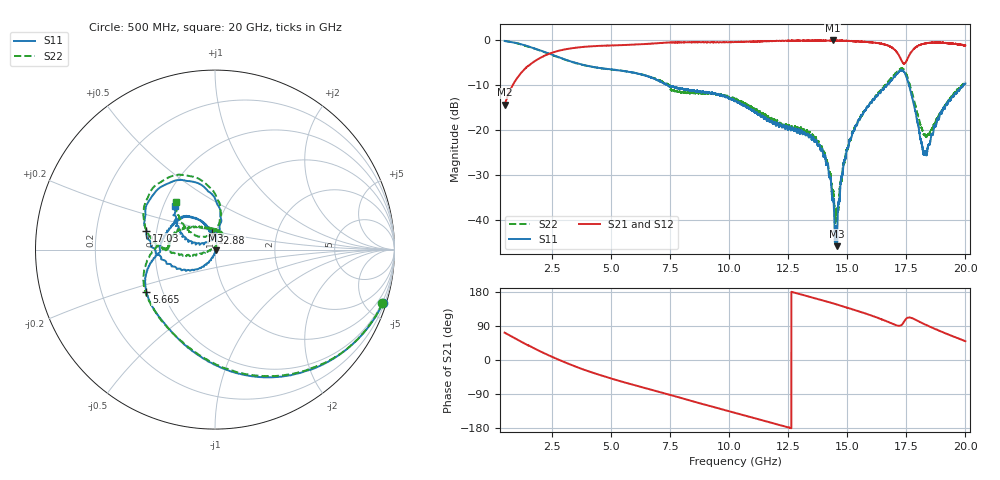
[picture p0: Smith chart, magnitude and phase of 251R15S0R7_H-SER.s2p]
!{251R15S0R7}
!Johanson Technology Inc.
!www.johansontechnology.com
!Test Board Conditions:
!Substrate Type  RO4350B
!Substrate Thickness  20 mil
!Substrate Dk  3.66
!TL Type: GCPW
!TL Trace Width  34 mil
!TL Gap  10 mil
!Electrode orientation  Horizontal
!DUT TOPOLOGY	SERIES
!Mounting Pad LxW  26x52 mil
! Created Thu Mar 12 16:29:16 2020
# mhz S ma R 50
! 2 Port Network Data from SP1.SP block
! freq  magS11  angS11  magS21  angS21  magS12  angS12  magS22  angS22
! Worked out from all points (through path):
!   19501 points, 500 MHz to 20 GHz, reference 50 ohm
!   highest |S21| = -0.06 dB at 14.39 GHz (marker M1); lowest = -14.3 dB at 500 MHz (marker M2)
!   lowest |S11| = -45.8 dB at 14.56 GHz (marker M3), VSWR 1.01, Z = 50.3 - j0.398 ohm
!   |S11| at or under -10 dB: 7.399368 GHz to 7.402959 GHz (3.591 MHz wide, 0.0485 % of centre); 7.403 GHz to 16.68 GHz (9.28 GHz wide, 77.1 % of centre); 17.61 GHz to 19.91 GHz (2.297 GHz wide, 12.2 % of centre)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
!   |S22| runs from -40.7 to -0.2 dB; largest |S21 - S12| = 0.017
!   S11 on the Smith chart (normalised r, x): 500 MHz: 0.40, -6.38; 5.665 GHz: 0.41, -0.24; 12.88 GHz: 0.96, +0.18; 17.03 GHz: 0.44, +0.11; 20 GHz: 0.58, +0.31
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500  0.9813 -17.7  0.1918 72.2  0.1922 72.4  0.9798 -17.8
1814  0.8021 -61.7  0.5928 28.9  0.5941 28.9  0.7981 -61.3
2753  0.6506 -88.4  0.7576 1.8  0.7574 1.7  0.6483 -87.8
3750  0.5374 -112.4  0.838 -23.2  0.8375 -23.1  0.5349 -112.6
5665  0.4492 -148.5  0.8857 -60.7  0.8854 -60.7  0.4487 -150.8
7000  0.3578 -169.8  0.926 -83.4  0.9276 -83.4  0.3635 -175.4
8424  0.2763 152.1  0.9466 -108.3  0.9495 -108.3  0.2584 176.6
10250  0.2103 123.0  0.9559 -139.5  0.9556 -139.6  0.2204 148.7
12875  0.09438 98.6  0.9889 175.9  0.9888 175.8  0.1012 73.4
13500  0.07817 87.3  0.9873 165.2  0.9871 165.3  0.08598 59.5
14108  0.04212 74.0  0.9886 154.8  0.9892 154.6  0.04568 54.2
14386  0.01719 48.1  0.9929 149.7  0.9901 149.6  0.0209 60.7
14565  0.005119 -50.6  0.9894 146.5  0.9868 146.3  0.01347 143.1
14806  0.03357 -103.5  0.9862 141.8  0.9832 141.8  0.03761 -170.8
15174  0.08183 -118.2  0.9799 134.7  0.9781 134.4  0.08636 -164.8
16750  0.33 -177.5  0.868 100.2  0.857 99.6  0.3486 172.4
17027  0.3958 164.7  0.7738 92.6  0.765 92.6  0.4219 158.9
17495  0.3966 107.7  0.58 109.0  0.5801 109.0  0.4205 106.0
17769  0.2184 82.3  0.7732 109.9  0.7726 109.6  0.2466 83.9
18293  0.05879 121.7  0.9219 93.7  0.921 93.3  0.0885 108.3
19002  0.1541 160.8  0.9354 74.5  0.9309 74.5  0.1656 144.4
20000  0.329 132.1  0.8712 49.5  0.8694 49.5  0.3432 128.7
